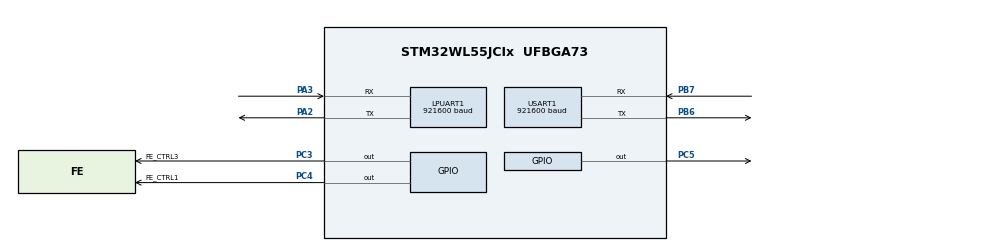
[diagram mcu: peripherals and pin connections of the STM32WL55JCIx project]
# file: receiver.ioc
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Dma.LPUART1_RX.2.Channel_PRIV_NPRIV=DMA_CHANNEL_NPRIV_DISABLE
Dma.LPUART1_RX.2.Direction=DMA_PERIPH_TO_MEMORY
Dma.LPUART1_RX.2.EventEnable=DISABLE
Dma.LPUART1_RX.2.Instance=DMA1_Channel1
Dma.LPUART1_RX.2.MemDataAlignment=DMA_MDATAALIGN_BYTE
Dma.LPUART1_RX.2.MemInc=DMA_MINC_ENABLE
Dma.LPUART1_RX.2.Mode=DMA_NORMAL
Dma.LPUART1_RX.2.PeriphDataAlignment=DMA_PDATAALIGN_BYTE
Dma.LPUART1_RX.2.PeriphInc=DMA_PINC_DISABLE
Dma.LPUART1_RX.2.Polarity=HAL_DMAMUX_REQ_GEN_RISING
Dma.LPUART1_RX.2.Priority=DMA_PRIORITY_LOW
Dma.LPUART1_RX.2.RequestNumber=1
Dma.LPUART1_RX.2.SignalID=NONE
Dma.LPUART1_RX.2.SyncEnable=DISABLE
Dma.LPUART1_RX.2.SyncPolarity=HAL_DMAMUX_SYNC_NO_EVENT
Dma.LPUART1_RX.2.SyncRequestNumber=1
Dma.LPUART1_RX.2.SyncSignalID=NONE
Dma.LPUART1_TX.3.Channel_PRIV_NPRIV=DMA_CHANNEL_NPRIV_DISABLE
Dma.LPUART1_TX.3.Direction=DMA_MEMORY_TO_PERIPH
Dma.LPUART1_TX.3.EventEnable=DISABLE
Dma.LPUART1_TX.3.Instance=DMA1_Channel4
Dma.LPUART1_TX.3.MemDataAlignment=DMA_MDATAALIGN_BYTE
Dma.LPUART1_TX.3.MemInc=DMA_MINC_ENABLE
Dma.LPUART1_TX.3.Mode=DMA_NORMAL
Dma.LPUART1_TX.3.PeriphDataAlignment=DMA_PDATAALIGN_BYTE
Dma.LPUART1_TX.3.PeriphInc=DMA_PINC_DISABLE
Dma.LPUART1_TX.3.Polarity=HAL_DMAMUX_REQ_GEN_RISING
Dma.LPUART1_TX.3.Priority=DMA_PRIORITY_LOW
Dma.LPUART1_TX.3.RequestNumber=1
Dma.LPUART1_TX.3.SignalID=NONE
Dma.LPUART1_TX.3.SyncEnable=DISABLE
Dma.LPUART1_TX.3.SyncPolarity=HAL_DMAMUX_SYNC_NO_EVENT
Dma.LPUART1_TX.3.SyncRequestNumber=1
Dma.LPUART1_TX.3.SyncSignalID=NONE
Dma.Request0=USART1_RX
Dma.Request1=USART1_TX
Dma.Request2=LPUART1_RX
Dma.Request3=LPUART1_TX
Dma.USART1_RX.0.Channel_PRIV_NPRIV=DMA_CHANNEL_NPRIV_DISABLE
Dma.USART1_RX.0.Direction=DMA_PERIPH_TO_MEMORY
Dma.USART1_RX.0.EventEnable=DISABLE
Dma.USART1_RX.0.Instance=DMA1_Channel2
Dma.USART1_RX.0.MemDataAlignment=DMA_MDATAALIGN_BYTE
Dma.USART1_RX.0.MemInc=DMA_MINC_ENABLE
Dma.USART1_RX.0.Mode=DMA_CIRCULAR
Dma.USART1_RX.0.PeriphDataAlignment=DMA_PDATAALIGN_BYTE
Dma.USART1_RX.0.PeriphInc=DMA_PINC_DISABLE
Dma.USART1_RX.0.Polarity=HAL_DMAMUX_REQ_GEN_RISING
Dma.USART1_RX.0.Priority=DMA_PRIORITY_HIGH
Dma.USART1_RX.0.RequestNumber=1
Dma.USART1_RX.0.SignalID=NONE
Dma.USART1_RX.0.SyncEnable=DISABLE
Dma.USART1_RX.0.SyncPolarity=HAL_DMAMUX_SYNC_NO_EVENT
Dma.USART1_RX.0.SyncRequestNumber=1
Dma.USART1_RX.0.SyncSignalID=NONE
Dma.USART1_TX.1.Channel_PRIV_NPRIV=DMA_CHANNEL_NPRIV_DISABLE
Dma.USART1_TX.1.Direction=DMA_MEMORY_TO_PERIPH
Dma.USART1_TX.1.EventEnable=DISABLE
Dma.USART1_TX.1.Instance=DMA1_Channel3
Dma.USART1_TX.1.MemDataAlignment=DMA_MDATAALIGN_BYTE
Dma.USART1_TX.1.MemInc=DMA_MINC_ENABLE
Dma.USART1_TX.1.Mode=DMA_NORMAL
Dma.USART1_TX.1.PeriphDataAlignment=DMA_PDATAALIGN_BYTE
Dma.USART1_TX.1.PeriphInc=DMA_PINC_DISABLE
Dma.USART1_TX.1.Polarity=HAL_DMAMUX_REQ_GEN_RISING
Dma.USART1_TX.1.Priority=DMA_PRIORITY_LOW
Dma.USART1_TX.1.RequestNumber=1
Dma.USART1_TX.1.SignalID=NONE
Dma.USART1_TX.1.SyncEnable=DISABLE
Dma.USART1_TX.1.SyncPolarity=HAL_DMAMUX_SYNC_NO_EVENT
Dma.USART1_TX.1.SyncRequestNumber=1
Dma.USART1_TX.1.SyncSignalID=NONE
FREERTOS.Tasks01=ParserTask,24,1024,StartParserTask,Default,NULL,Dynamic,NULL,NULL;PcTxTask,40,256,StartPcTxTask,Default,NULL,Dynamic,NULL,NULL
FREERTOS.configTOTAL_HEAP_SIZE=15360
LPUART1.BaudRate=921600
Mcu.Family=STM32WL
Mcu.Name=STM32WL55JCIx
Mcu.Package=UFBGA73
NUCLEO-WL55JC1.VCP=false
NVIC.DMA1_Channel1_IRQn=true\:5\:0\:false\:false\:true\:true\:false\:true\:true
NVIC.DMA1_Channel2_IRQn=true\:5\:0\:false\:false\:true\:true\:false\:true\:true
NVIC.DMA1_Channel3_IRQn=true\:5\:0\:false\:false\:true\:true\:false\:true\:true
NVIC.DMA1_Channel4_IRQn=true\:5\:0\:false\:false\:true\:true\:false\:true\:true
NVIC.LPUART1_IRQn=true\:5\:0\:false\:false\:true\:true\:true\:true\:true
NVIC.PriorityGroup=NVIC_PRIORITYGROUP_4
NVIC.TIM16_IRQn=true\:15\:0\:false\:false\:true\:false\:false\:true\:true
NVIC.TimeBase=TIM16_IRQn
NVIC.TimeBaseIP=TIM16
NVIC.USART1_IRQn=true\:5\:0\:false\:false\:true\:true\:true\:true\:true
PA2.Mode=Asynchronous
PA2.Signal=LPUART1_TX
PA3.Mode=Asynchronous
PA3.Signal=LPUART1_RX
PB6.Mode=Asynchronous
PB6.Signal=USART1_TX
PB7.Mode=Asynchronous
PB7.Signal=USART1_RX
PC14-OSC32_IN.GPIO_Label=RCC_OSC32_IN
PC14-OSC32_IN.Signal=RCC_OSC32_IN
PC15-OSC32_OUT.GPIO_Label=RCC_OSC32_OUT
PC15-OSC32_OUT.Signal=RCC_OSC32_OUT
PC3.GPIO_Label=FE_CTRL3
PC3.GPIO_Speed=GPIO_SPEED_FREQ_VERY_HIGH
PC3.Signal=GPIO_Output
PC4.GPIO_Label=FE_CTRL1
PC4.GPIO_Speed=GPIO_SPEED_FREQ_VERY_HIGH
PC4.Signal=GPIO_Output
PC5.Signal=GPIO_Output
ProjectManager.HeapSize=0x200
ProjectManager.StackSize=0x400
ProjectManager.TargetToolchain=CMake
RCC.AHBFreq_Value=48000000
RCC.APB1Freq_Value=48000000
RCC.APB1TimFreq_Value=48000000
RCC.APB2Freq_Value=48000000
RCC.APB2TimFreq_Value=48000000
RCC.APB3Freq_Value=48000000
RCC.CortexFreq_Value=48000000
RCC.HCLKFreq_Value=48000000
RCC.HSE_VALUE=32000000
RCC.HSI_VALUE=16000000
RCC.LSE_VALUE=32768
RCC.MSIClockRange=RCC_MSIRANGE_11
RCC.SYSCLKFreq_VALUE=48000000
RCC.VCOOutputFreq_Value=384000000
USART1.BaudRate=921600
USART1.VirtualMode-Asynchronous=VM_ASYNC
VP_FREERTOS_VS_CMSIS_V2.Mode=CMSIS_V2
VP_NUCLEO-WL55JC1_VS_BSP_COMMON.Mode=COMMON
VP_SYS_VS_tim16.Mode=TIM16
board=NUCLEO-WL55JC1

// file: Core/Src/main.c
/* USER CODE BEGIN Header */
/**
  ******************************************************************************
  * @file           : main.c
  * @brief          : Main program body
  ******************************************************************************
  * @attention
  *
  * Copyright (c) 2026 STMicroelectronics.
  * All rights reserved.
  *
  * This software is licensed under terms that can be found in the LICENSE file
  * in the root directory of this software component.
  * If no LICENSE file comes with this software, it is provided AS-IS.
  *
  ******************************************************************************
  */
/* USER CODE END Header */
#include "main.h"
#include "cmsis_os2.h"
#include "FreeRTOS.h"
#include "radio_protocol.h"
#include "semphr.h"
#include "queue.h"
#include "stream_buffer.h"
/* USER CODE BEGIN Includes */
#include <string.h>
/* USER CODE END Includes */

UART_HandleTypeDef hlpuart1;
UART_HandleTypeDef huart1;
DMA_HandleTypeDef hdma_lpuart1_rx;
DMA_HandleTypeDef hdma_lpuart1_tx;
DMA_HandleTypeDef hdma_usart1_rx;
DMA_HandleTypeDef hdma_usart1_tx;

osThreadId_t ParserTaskHandle;
const osThreadAttr_t ParserTask_attributes = {
  .name = "ParserTask",
  .priority = (osPriority_t) osPriorityNormal,
  .stack_size = 1024 * 4
};

osThreadId_t PcTxTaskHandle;
const osThreadAttr_t PcTxTask_attributes = {
  .name = "PcTxTask",
  .priority = (osPriority_t) osPriorityHigh,
  .stack_size = 256 * 4
};
/* USER CODE BEGIN PV */
StreamBufferHandle_t xRadioRxStreamBuffer;
QueueHandle_t xPcTxQueue;
SemaphoreHandle_t xPcUartSemaphore;

#define RX_DMA_BUFFER_SIZE 512
uint8_t rx_dma_buffer[RX_DMA_BUFFER_SIZE];
/* USER CODE END PV */

void SystemClock_Config(void);
static void MX_GPIO_Init(void);
static void MX_DMA_Init(void);
static void MX_USART1_UART_Init(void);
static void MX_LPUART1_UART_Init(void);
void StartParserTask(void *argument);
void StartPcTxTask(void *argument);

int main(void)
{

  /* MCU Configuration--------------------------------------------------------*/

  /* Reset of all peripherals, Initializes the Flash interface and the Systick. */
  HAL_Init();

  /* Configure the system clock */
  SystemClock_Config();

  /* Initialize all configured peripherals */
  MX_GPIO_Init();
  MX_DMA_Init();
  MX_USART1_UART_Init();
  MX_LPUART1_UART_Init();
  /* USER CODE BEGIN 2 */
  xRadioRxStreamBuffer = xStreamBufferCreate(1024, 1);

  xPcTxQueue = xQueueCreate(10, sizeof(RadioPacket_t));

  xPcUartSemaphore = xSemaphoreCreateBinary();
  xSemaphoreGive(xPcUartSemaphore);

  HAL_UARTEx_ReceiveToIdle_DMA(&huart1, rx_dma_buffer, RX_DMA_BUFFER_SIZE);
  __HAL_DMA_DISABLE_IT(&hdma_usart1_rx, DMA_IT_HT);
  /* USER CODE END 2 */

  /* Init scheduler */
  osKernelInitialize();

  /* Create the thread(s) */
  /* creation of ParserTask */
  ParserTaskHandle = osThreadNew(StartParserTask, NULL, &ParserTask_attributes);

  /* creation of PcTxTask */
  PcTxTaskHandle = osThreadNew(StartPcTxTask, NULL, &PcTxTask_attributes);

  /* Start scheduler */
  osKernelStart();

  /* We should never get here as control is now taken by the scheduler */

  /* Infinite loop */
  while (1)
  {

  }
}

void SystemClock_Config(void)
{
  RCC_OscInitTypeDef RCC_OscInitStruct = {0};
  RCC_ClkInitTypeDef RCC_ClkInitStruct = {0};

  /** Configure the main internal regulator output voltage
  */
  __HAL_PWR_VOLTAGESCALING_CONFIG(PWR_REGULATOR_VOLTAGE_SCALE1);

  /** Initializes the CPU, AHB and APB buses clocks
  */
  RCC_OscInitStruct.OscillatorType = RCC_OSCILLATORTYPE_MSI;
  RCC_OscInitStruct.MSIState = RCC_MSI_ON;
  RCC_OscInitStruct.MSICalibrationValue = RCC_MSICALIBRATION_DEFAULT;
  RCC_OscInitStruct.MSIClockRange = RCC_MSIRANGE_11;
  RCC_OscInitStruct.PLL.PLLState = RCC_PLL_NONE;
  if (HAL_RCC_OscConfig(&RCC_OscInitStruct) != HAL_OK)
  {
    Error_Handler();
  }

  /** Configure the SYSCLKSource, HCLK, PCLK1 and PCLK2 clocks dividers
  */
  RCC_ClkInitStruct.ClockType = RCC_CLOCKTYPE_HCLK3|RCC_CLOCKTYPE_HCLK
                              |RCC_CLOCKTYPE_SYSCLK|RCC_CLOCKTYPE_PCLK1
                              |RCC_CLOCKTYPE_PCLK2;
  RCC_ClkInitStruct.SYSCLKSource = RCC_SYSCLKSOURCE_MSI;
  RCC_ClkInitStruct.AHBCLKDivider = RCC_SYSCLK_DIV1;
  RCC_ClkInitStruct.APB1CLKDivider = RCC_HCLK_DIV1;
  RCC_ClkInitStruct.APB2CLKDivider = RCC_HCLK_DIV1;
  RCC_ClkInitStruct.AHBCLK3Divider = RCC_SYSCLK_DIV1;

  if (HAL_RCC_ClockConfig(&RCC_ClkInitStruct, FLASH_LATENCY_2) != HAL_OK)
  {
    Error_Handler();
  }
}

static void MX_LPUART1_UART_Init(void)
{

  hlpuart1.Instance = LPUART1;
  hlpuart1.Init.BaudRate = 921600;
  hlpuart1.Init.WordLength = UART_WORDLENGTH_8B;
  hlpuart1.Init.StopBits = UART_STOPBITS_1;
  hlpuart1.Init.Parity = UART_PARITY_NONE;
  hlpuart1.Init.Mode = UART_MODE_TX_RX;
  hlpuart1.Init.HwFlowCtl = UART_HWCONTROL_NONE;
  hlpuart1.Init.OneBitSampling = UART_ONE_BIT_SAMPLE_DISABLE;
  hlpuart1.Init.ClockPrescaler = UART_PRESCALER_DIV1;
  hlpuart1.AdvancedInit.AdvFeatureInit = UART_ADVFEATURE_NO_INIT;
  hlpuart1.FifoMode = UART_FIFOMODE_DISABLE;
  if (HAL_UART_Init(&hlpuart1) != HAL_OK)
  {
    Error_Handler();
  }
  if (HAL_UARTEx_SetTxFifoThreshold(&hlpuart1, UART_TXFIFO_THRESHOLD_1_8) != HAL_OK)
  {
    Error_Handler();
  }
  if (HAL_UARTEx_SetRxFifoThreshold(&hlpuart1, UART_RXFIFO_THRESHOLD_1_8) != HAL_OK)
  {
    Error_Handler();
  }
  if (HAL_UARTEx_DisableFifoMode(&hlpuart1) != HAL_OK)
  {
    Error_Handler();
  }

}

static void MX_USART1_UART_Init(void)
{

  huart1.Instance = USART1;
  huart1.Init.BaudRate = 921600;
  huart1.Init.WordLength = UART_WORDLENGTH_8B;
  huart1.Init.StopBits = UART_STOPBITS_1;
  huart1.Init.Parity = UART_PARITY_NONE;
  huart1.Init.Mode = UART_MODE_TX_RX;
  huart1.Init.HwFlowCtl = UART_HWCONTROL_NONE;
  huart1.Init.OverSampling = UART_OVERSAMPLING_16;
  huart1.Init.OneBitSampling = UART_ONE_BIT_SAMPLE_DISABLE;
  huart1.Init.ClockPrescaler = UART_PRESCALER_DIV1;
  huart1.AdvancedInit.AdvFeatureInit = UART_ADVFEATURE_NO_INIT;
  if (HAL_UART_Init(&huart1) != HAL_OK)
  {
    Error_Handler();
  }
  if (HAL_UARTEx_SetTxFifoThreshold(&huart1, UART_TXFIFO_THRESHOLD_1_8) != HAL_OK)
  {
    Error_Handler();
  }
  if (HAL_UARTEx_SetRxFifoThreshold(&huart1, UART_RXFIFO_THRESHOLD_1_8) != HAL_OK)
  {
    Error_Handler();
  }
  if (HAL_UARTEx_DisableFifoMode(&huart1) != HAL_OK)
  {
    Error_Handler();
  }

}

static void MX_DMA_Init(void)
{

  /* DMA controller clock enable */
  __HAL_RCC_DMAMUX1_CLK_ENABLE();
  __HAL_RCC_DMA1_CLK_ENABLE();

  /* DMA interrupt init */
  /* DMA1_Channel1_IRQn interrupt configuration */
  HAL_NVIC_SetPriority(DMA1_Channel1_IRQn, 5, 0);
  HAL_NVIC_EnableIRQ(DMA1_Channel1_IRQn);
  /* DMA1_Channel2_IRQn interrupt configuration */
  HAL_NVIC_SetPriority(DMA1_Channel2_IRQn, 5, 0);
  HAL_NVIC_EnableIRQ(DMA1_Channel2_IRQn);
  /* DMA1_Channel3_IRQn interrupt configuration */
  HAL_NVIC_SetPriority(DMA1_Channel3_IRQn, 5, 0);
  HAL_NVIC_EnableIRQ(DMA1_Channel3_IRQn);
  /* DMA1_Channel4_IRQn interrupt configuration */
  HAL_NVIC_SetPriority(DMA1_Channel4_IRQn, 5, 0);
  HAL_NVIC_EnableIRQ(DMA1_Channel4_IRQn);

}

static void MX_GPIO_Init(void)
{
  GPIO_InitTypeDef GPIO_InitStruct = {0};

  /* GPIO Ports Clock Enable */
  __HAL_RCC_GPIOC_CLK_ENABLE();
  __HAL_RCC_GPIOB_CLK_ENABLE();
  __HAL_RCC_GPIOA_CLK_ENABLE();

  /*Configure GPIO pin Output Level */
  HAL_GPIO_WritePin(GPIOC, FE_CTRL3_Pin|GPIO_PIN_5|FE_CTRL1_Pin, GPIO_PIN_RESET);

  // /*Configure GPIO pins : FE_CTRL3_Pin FE_CTRL1_Pin */
  // GPIO_InitStruct.Pin = FE_CTRL3_Pin|FE_CTRL1_Pin;
  // GPIO_InitStruct.Mode = GPIO_MODE_OUTPUT_PP;
  // GPIO_InitStruct.Pull = GPIO_NOPULL;
  // GPIO_InitStruct.Speed = GPIO_SPEED_FREQ_VERY_HIGH;
  // HAL_GPIO_Init(GPIOC, &GPIO_InitStruct);
  //
  // /*Configure GPIO pin : PC5 */
  // GPIO_InitStruct.Pin = GPIO_PIN_5;
  // GPIO_InitStruct.Mode = GPIO_MODE_OUTPUT_PP;
  // GPIO_InitStruct.Pull = GPIO_NOPULL;
  // GPIO_InitStruct.Speed = GPIO_SPEED_FREQ_LOW;
  // HAL_GPIO_Init(GPIOC, &GPIO_InitStruct);

  /* USER CODE BEGIN MX_GPIO_Init_2 */
  HAL_GPIO_WritePin(GPIOB, GPIO_PIN_9|GPIO_PIN_11|GPIO_PIN_15, GPIO_PIN_RESET);

  GPIO_InitStruct.Pin = FE_CTRL3_Pin|FE_CTRL1_Pin|GPIO_PIN_5;
  GPIO_InitStruct.Mode = GPIO_MODE_OUTPUT_PP;
  GPIO_InitStruct.Pull = GPIO_NOPULL;
  GPIO_InitStruct.Speed = GPIO_SPEED_FREQ_VERY_HIGH;
  HAL_GPIO_Init(GPIOC, &GPIO_InitStruct);

  // Configure WL55JC LEDs as outputs
  GPIO_InitStruct.Pin = GPIO_PIN_9|GPIO_PIN_11|GPIO_PIN_15;
  GPIO_InitStruct.Mode = GPIO_MODE_OUTPUT_PP;
  GPIO_InitStruct.Pull = GPIO_NOPULL;
  GPIO_InitStruct.Speed = GPIO_SPEED_FREQ_LOW;
  HAL_GPIO_Init(GPIOB, &GPIO_InitStruct);
  /* USER CODE END MX_GPIO_Init_2 */
}

/* USER CODE BEGIN 4 */
void Process_DMA_Buffer(UART_HandleTypeDef* huart)
{
  static uint16_t old_pos = 0;
  uint16_t new_pos = RX_DMA_BUFFER_SIZE - __HAL_DMA_GET_COUNTER(huart->hdmarx);

  if (new_pos != old_pos)
  {
    BaseType_t xHigherPriorityTaskWoken = pdFALSE;

    if (new_pos > old_pos)
    {
      xStreamBufferSendFromISR(xRadioRxStreamBuffer, &rx_dma_buffer[old_pos], new_pos - old_pos, &xHigherPriorityTaskWoken);
    } else
    {
      xStreamBufferSendFromISR(xRadioRxStreamBuffer, &rx_dma_buffer[old_pos], RX_DMA_BUFFER_SIZE - old_pos, &xHigherPriorityTaskWoken);
      if (new_pos > 0)
      {
        xStreamBufferSendFromISR(xRadioRxStreamBuffer, &rx_dma_buffer[0], new_pos, &xHigherPriorityTaskWoken);
      }
    }
    old_pos = new_pos;

    portYIELD_FROM_ISR(xHigherPriorityTaskWoken);
  }
}

void HAL_UART_RxHalfCpltCallback(UART_HandleTypeDef* huart) {
  if (huart->Instance == USART1) Process_DMA_Buffer(huart);
}

void HAL_UART_RxCpltCallback(UART_HandleTypeDef* huart) {
  if (huart->Instance == USART1) Process_DMA_Buffer(huart);
}

void HAL_UARTEx_RxEventCallback(UART_HandleTypeDef *huart, uint16_t Size)
{
  if (huart->Instance == USART1)
  {
    static uint16_t old_pos = 0;
    uint16_t pos = Size;
    uint16_t length = 0;
    BaseType_t xHigherPriorityTaskWoken = pdFALSE;

    if (pos != old_pos)
    {
      if (pos > old_pos)
      {
        length = pos - old_pos;
        xStreamBufferSendFromISR(xRadioRxStreamBuffer, &rx_dma_buffer[old_pos], length, &xHigherPriorityTaskWoken);
      }
      else
      {
        length = RX_DMA_BUFFER_SIZE - old_pos;
        xStreamBufferSendFromISR(xRadioRxStreamBuffer, &rx_dma_buffer[old_pos], length, &xHigherPriorityTaskWoken);
        if (pos > 0)
        {
          xStreamBufferSendFromISR(xRadioRxStreamBuffer, &rx_dma_buffer[0], pos, &xHigherPriorityTaskWoken);
        }
      }
      old_pos = pos;
    }

    if (pos == RX_DMA_BUFFER_SIZE)
    {
      old_pos = 0;
    }

    HAL_UARTEx_ReceiveToIdle_DMA(&huart1, rx_dma_buffer, RX_DMA_BUFFER_SIZE);
    __HAL_DMA_DISABLE_IT(&hdma_usart1_rx, DMA_IT_HT);

    portYIELD_FROM_ISR(xHigherPriorityTaskWoken);
  }
}

void HAL_UART_ErrorCallback(UART_HandleTypeDef *huart)
{
  if (huart->Instance == USART1)
  {
    HAL_UARTEx_ReceiveToIdle_DMA(&huart1, rx_dma_buffer, RX_DMA_BUFFER_SIZE);
    __HAL_DMA_DISABLE_IT(&hdma_usart1_rx, DMA_IT_HT);
  }
}

void HAL_UART_TxCpltCallback(UART_HandleTypeDef *huart)
{
  if (huart->Instance == LPUART1)
  {
    BaseType_t xHigherPriorityTaskWoken = pdFALSE;
    xSemaphoreGiveFromISR(xPcUartSemaphore, &xHigherPriorityTaskWoken);
    portYIELD_FROM_ISR(xHigherPriorityTaskWoken);
  }
}
/* USER CODE END 4 */

void HAL_TIM_PeriodElapsedCallback(TIM_HandleTypeDef *htim)
{
  if (htim->Instance == TIM16)
  {
    HAL_IncTick();
  }
}

void Error_Handler(void)
{
  __disable_irq();
  while (1)
  {
  }
}

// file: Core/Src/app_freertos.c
/* USER CODE BEGIN Header */
/**
  ******************************************************************************
  * File Name          : app_freertos.c
  * Description        : Code for freertos applications
  ******************************************************************************
  * @attention
  *
  * Copyright (c) 2026 STMicroelectronics.
  * All rights reserved.
  *
  * This software is licensed under terms that can be found in the LICENSE file
  * in the root directory of this software component.
  * If no LICENSE file comes with this software, it is provided AS-IS.
  *
  ******************************************************************************
  */
/* USER CODE END Header */

#include "FreeRTOS.h"
#include "task.h"
#include "main.h"

/* USER CODE BEGIN Includes */
#include "radio_protocol.h"
#include "stream_buffer.h"
#include "queue.h"
#include "semphr.h"
#include <string.h>

extern UART_HandleTypeDef hlpuart1;
extern StreamBufferHandle_t xRadioRxStreamBuffer;
extern QueueHandle_t xPcTxQueue;
extern SemaphoreHandle_t xPcUartSemaphore;
/* USER CODE END Includes */

/* USER CODE BEGIN Application */

void StartParserTask(void* argument)
{
  uint8_t rx_chunk[128];
  uint8_t state = 0; // 0=WaitStart, 1=Type, 2=Len, 3=Payload
  RadioPacket_t current_packet;
  uint8_t payload_index = 0;

  for (;;)
  {
    size_t bytes_read = xStreamBufferReceive(xRadioRxStreamBuffer, rx_chunk, sizeof(rx_chunk), portMAX_DELAY);

    for (size_t i = 0; i < bytes_read; i++)
    {
      uint8_t rx_byte = rx_chunk[i];

      switch (state)
      {
        case 0:
          if (rx_byte == PACKET_START_BYTE)
          {
            current_packet.start_byte = rx_byte;
            state = 1;
          }
          break;

        case 1:
          current_packet.type = rx_byte;
          if (current_packet.type == PACKET_TYPE_AUDIO || current_packet.type == PACKET_TYPE_TELEMETRY)
          {
            state = 2;
          } else
          {
            HAL_GPIO_TogglePin(GPIOB, GPIO_PIN_11);
            state = 0;
          }
          break;

        case 2:
          current_packet.length = rx_byte;
          if (current_packet.length > MAX_PAYLOAD_SIZE)
          {
            HAL_GPIO_TogglePin(GPIOB, GPIO_PIN_11);
            state = 0;
          } else
          {
            state = 3;
          }
          break;

        case 3:
          current_packet.seq_num = rx_byte;
          if (current_packet.length == 0)
          {
            xQueueSend(xPcTxQueue, &current_packet, 0);
            state = 0;
          } else
          {
            payload_index = 0;
            state = 4;
          }
          break;

        case 4:
          current_packet.payload[payload_index++] = rx_byte;
          if (payload_index >= current_packet.length)
          {
            if (xQueueSend(xPcTxQueue, &current_packet, 0) == pdTRUE)
            {
              HAL_GPIO_TogglePin(GPIOB, GPIO_PIN_9);
            } else
            {
              HAL_GPIO_TogglePin(GPIOB, GPIO_PIN_11);
            }
            state = 0;
          }
          break;
      }
    }
  }
}

void StartPcTxTask(void* argument)
{
  RadioPacket_t tx_packet;
  static uint8_t pc_buffer[sizeof(RadioPacket_t) + 5];

  for (;;)
  {
    if (xQueueReceive(xPcTxQueue, &tx_packet, portMAX_DELAY) == pdTRUE)
    {
      if (xSemaphoreTake(xPcUartSemaphore, portMAX_DELAY) == pdTRUE)
      {
        pc_buffer[0] = tx_packet.start_byte;
        pc_buffer[1] = tx_packet.type;
        pc_buffer[2] = tx_packet.length;
        pc_buffer[3] = tx_packet.seq_num;
        memcpy(&pc_buffer[4], tx_packet.payload, tx_packet.length);

        uint16_t len = 4 + tx_packet.length;

        HAL_UART_Transmit_DMA(&hlpuart1, pc_buffer, len);
      }
    }
  }
}
/* USER CODE END Application */
